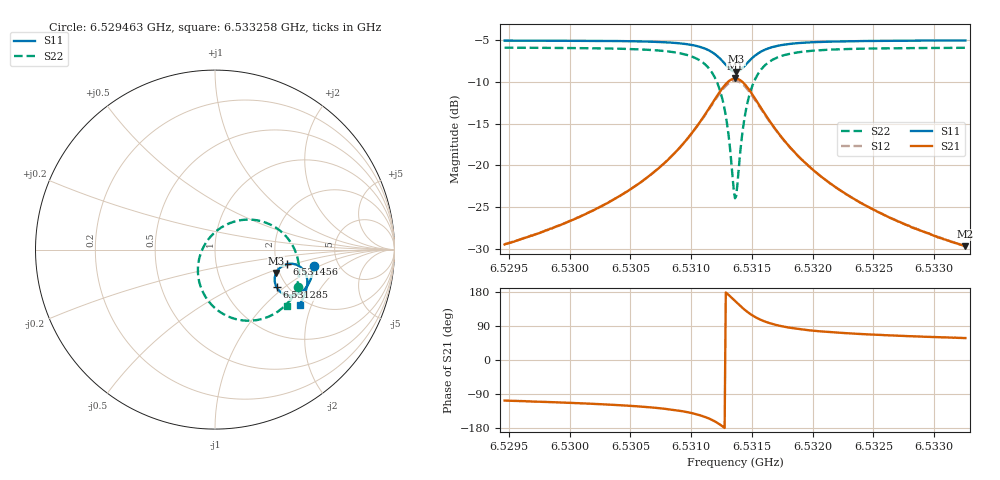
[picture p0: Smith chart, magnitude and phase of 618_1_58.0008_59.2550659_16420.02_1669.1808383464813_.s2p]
#  HZ  S  RI  R  50.00
! Rohde & Schwarz Vector Network Analyzer
! Rohde-Schwarz,ZNB20-2Port,1311601062101988,3.16
! Created: UTC 3/21/2024, 1:18:00 AM
! freq[Hz]  re:S11  im:S11  re:S21  im:S21  re:S12  im:S12  re:S22  im:S22
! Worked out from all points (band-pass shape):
!   401 points, 6.529463 GHz to 6.533258 GHz, reference 50 ohm
!   highest |S21| = -9.57 dB at 6.531361 GHz (marker M1); lowest = -29.7 dB at 6.533258 GHz (marker M2)
!   |S21| within 3 dB of the highest: 6.531173 GHz to 6.531552 GHz (379 kHz wide, 0.0058 % of centre)
!   lowest |S11| = -8.8 dB at 6.53137 GHz (marker M3), VSWR 2.15, Z = 95.9 - j28.8 ohm
!   |S11| at or under -10 dB: nowhere
!   |S22| runs from -23.9 to -5.9 dB; largest |S21 - S12| = 0.014
!   S11 on the Smith chart (normalised r, x): 6.529463 GHz: 3.29, -0.88; 6.531285 GHz: 1.76, -0.88; 6.531456 GHz: 2.27, -0.44; 6.533258 GHz: 1.83, -1.64
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6.5294632e9  0.5531 -0.0915  -0.00984 -0.0321  -0.0107 -0.0319  0.4631 -0.2095
6.5300988e9  0.5403 -0.1451  -0.0206 -0.0454  -0.0218 -0.0451  0.4278 -0.2689
6.5304309e9  0.5281 -0.1766  -0.0331 -0.0581  -0.0347 -0.0573  0.3947 -0.3082
6.5307345e9  0.5084 -0.2103  -0.0583 -0.077  -0.0606 -0.0754  0.3375 -0.3535
6.5309527e9  0.479 -0.239  -0.102 -0.0962  -0.1048 -0.0924  0.25 -0.3893
6.5311235e9  0.4276 -0.2566  -0.1821 -0.0991  -0.1837 -0.091  0.1048 -0.3842
6.5312184e9  0.3782 -0.2449  -0.2575 -0.0621  -0.2551 -0.0511  -0.0189 -0.3076
6.5312848e9  0.3431 -0.2093  -0.3074 0.00978  -0.299 0.0202  -0.0884 -0.1779
6.5313133e9  0.3342 -0.1851  -0.317 0.0542  -0.3061 0.0626  -0.0953 -0.1028
6.5313417e9  0.3329 -0.1577  -0.3137 0.1031  -0.3013 0.1084  -0.0805 -0.0238
6.5313607e9  0.3368 -0.1393  -0.3035 0.1353  -0.2906 0.1382  -0.0577 0.0266
6.5313702e9  0.3403 -0.1304  -0.296 0.1505  -0.2832 0.1522  -0.0427 0.0497
6.5313797e9  0.3447 -0.1221  -0.2869 0.1649  -0.2746 0.1655  -0.0255 0.0715
6.5314271e9  0.3763 -0.0904  -0.227 0.2177  -0.2174 0.2144  0.0819 0.1473
6.5314556e9  0.3989 -0.0811  -0.1863 0.2329  -0.1792 0.2288  0.1513 0.1651
6.531522e9  0.4461 -0.0819  -0.1046 0.2318  -0.1011 0.2281  0.2876 0.1483
6.5316169e9  0.4865 -0.1062  -0.0358 0.1954  -0.0342 0.1933  0.3981 0.0714
6.5317592e9  0.5093 -0.1445  0.00452 0.1432  0.00562 0.1424  0.4561 -0.0329
6.5319964e9  0.5144 -0.1894  0.0202 0.0929  0.0215 0.0925  0.468 -0.1362
6.5322905e9  0.5077 -0.2262  0.0222 0.0625  0.0232 0.0622  0.4551 -0.2052
6.5326321e9  0.496 -0.2587  0.0206 0.0442  0.0215 0.0439  0.4357 -0.2541
6.5332582e9  0.4709 -0.3067  0.0174 0.0278  0.018 0.0275  0.4006 -0.3119
